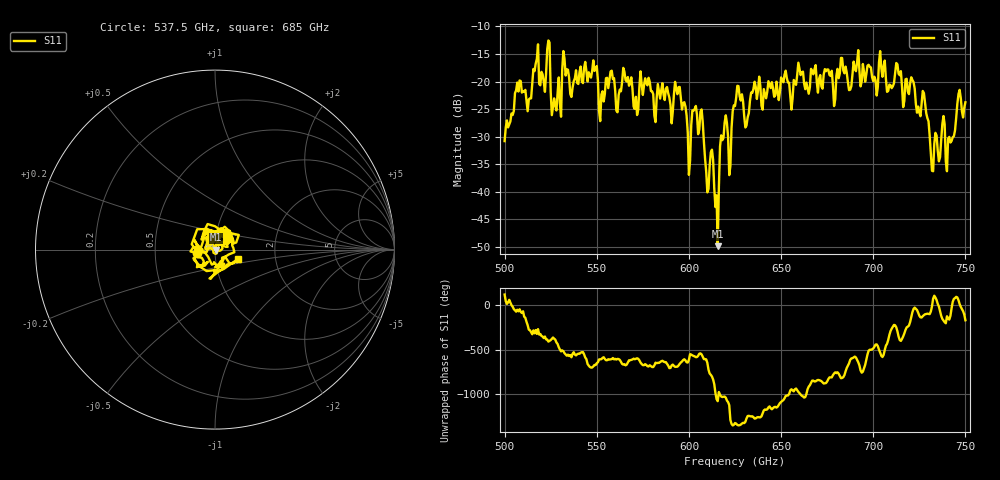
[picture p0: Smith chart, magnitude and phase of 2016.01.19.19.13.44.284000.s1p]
!Created with skrf (http://scikit-rf.org).
# GHz S RI R 50.0
!freq ReS11 ImS11
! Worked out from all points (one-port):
!   401 points, 500 GHz to 750 GHz, reference 50 ohm
!   lowest |S11| = -49.8 dB at 615.6 GHz (marker M1), VSWR 1.01, Z = 50.3 + j0.00853 ohm
!   |S11| at or under -10 dB: start of sweep to end of sweep
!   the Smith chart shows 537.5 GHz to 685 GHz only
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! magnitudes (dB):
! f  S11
! 500 GHz  -30.8
! 507.5 GHz  -21.8
! 513.1 GHz  -23.2
! 516.9 GHz  -16.7
! 520.6 GHz  -18.7
! 523.8 GHz  -12.5
! 526.9 GHz  -23.1
! 531.2 GHz  -17.9
! 548.8 GHz  -18.1
! 562.5 GHz  -21.5
! 593.8 GHz  -22.3
! 600 GHz  -36.9
! 603.1 GHz  -25.0
! 606.9 GHz  -25.0
! 609.4 GHz  -36.3
! 612.5 GHz  -32.3
! 615.6 GHz  -49.8
! 618.1 GHz  -30.6
! 622.5 GHz  -35.3
! 625 GHz  -24.4
! 656.2 GHz  -23.1
! 660.6 GHz  -18.8
! 687.5 GHz  -21.5
! 690.6 GHz  -18.1
! 718.8 GHz  -21.8
! 728.1 GHz  -23.9
! 731.9 GHz  -36.2
! 750 GHz  -23.8
